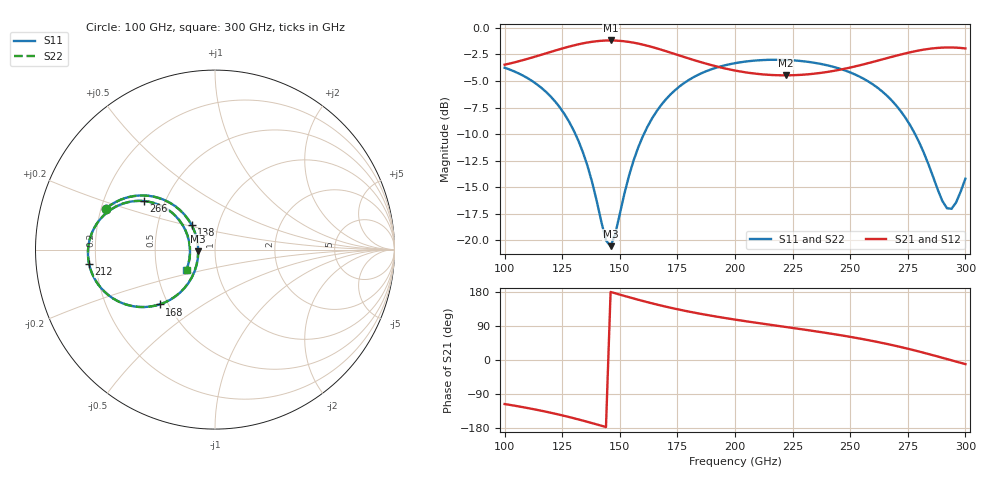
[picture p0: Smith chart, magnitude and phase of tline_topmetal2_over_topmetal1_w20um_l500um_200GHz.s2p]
#  GHZ S DB R 50
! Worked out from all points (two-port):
!   101 points, 100 GHz to 300 GHz, reference 50 ohm
!   highest |S21| = -1.18 dB at 146 GHz (marker M1); lowest = -4.5 dB at 222 GHz (marker M2)
!   |S21| within 3 dB of the highest: start of sweep to 204.4 GHz; 239.1 GHz to end of sweep
!   lowest |S11| = -20.6 dB at 146 GHz (marker M3), VSWR 1.21, Z = 41.5 - j0.794 ohm
!   |S11| at or under -10 dB: 130.7 GHz to 160.5 GHz (29.78 GHz wide, 20.5 % of centre); 278.1 GHz to end of sweep
!   |S22| runs from -20.5 to -3.0 dB; largest |S21 - S12| = 9.4e-14
!   S11 on the Smith chart (normalised r, x): 100 GHz: 0.22, +0.17; 138 GHz: 0.75, +0.21; 168 GHz: 0.45, -0.34; 212 GHz: 0.17, -0.06; 266 GHz: 0.38, +0.27; 300 GHz: 0.71, -0.17
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100  -3.75 159.4  -3.47 -116.2  -3.47 -116.2  -3.75 159.4
110  -4.73 150.4  -2.91 -126.8  -2.91 -126.8  -4.73 150.5
120  -6.46 140.9  -2.26 -139.2  -2.26 -139.2  -6.46 141.0
128  -8.84 133.8  -1.76 -150.5  -1.76 -150.5  -8.84 133.9
134  -11.73 131.1  -1.45 -160.0  -1.45 -160.0  -11.72 131.2
138  -14.55 133.6  -1.30 -166.6  -1.30 -166.6  -14.54 133.8
144  -20.03 163.4  -1.19 -176.9  -1.19 -176.9  -19.99 163.5
146  -20.57 -174.2  -1.18 179.6  -1.18 179.6  -20.53 -174.2
158  -11.26 -128.4  -1.47 159.0  -1.47 159.0  -11.26 -128.5
168  -7.25 -135.3  -2.05 143.6  -2.05 143.6  -7.25 -135.3
182  -4.64 -148.7  -3.02 125.4  -3.02 125.4  -4.64 -148.7
200  -3.32 -164.2  -4.01 106.7  -4.01 106.7  -3.32 -164.2
212  -3.03 -173.4  -4.38 95.8  -4.38 95.8  -3.03 -173.4
222  -3.02 179.4  -4.47 87.2  -4.47 87.2  -3.02 179.4
234  -3.27 170.6  -4.32 76.6  -4.32 76.6  -3.27 170.7
250  -4.19 158.4  -3.73 61.1  -3.73 61.1  -4.19 158.4
266  -6.40 145.6  -2.84 42.3  -2.84 42.3  -6.39 145.6
268  -6.83 144.2  -2.73 39.6  -2.73 39.6  -6.83 144.1
278  -9.94 139.4  -2.20 25.2  -2.20 25.2  -9.94 139.3
292  -17.00 173.7  -1.84 2.5  -1.84 2.5  -17.03 173.6
296  -16.44 -160.7  -1.86 -4.2  -1.86 -4.2  -16.47 -160.6
300  -14.21 -144.8  -1.93 -10.8  -1.93 -10.8  -14.24 -144.6
